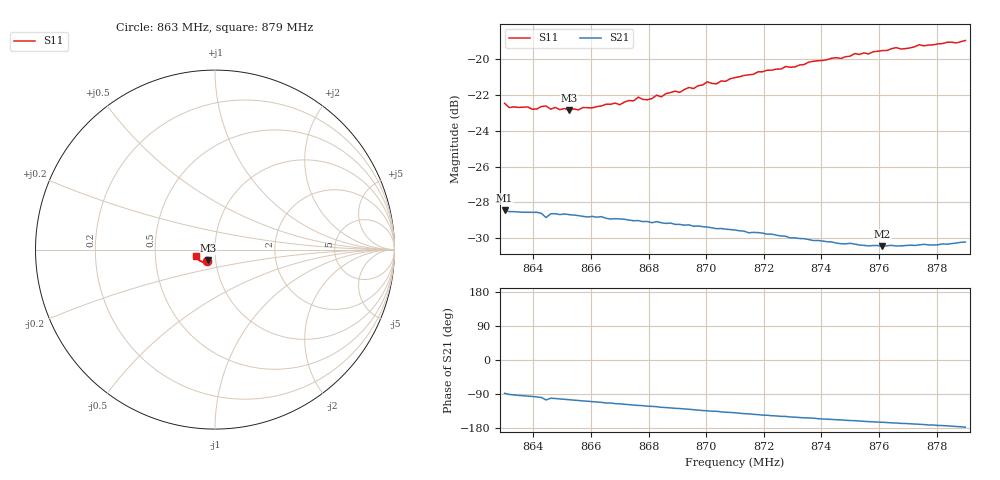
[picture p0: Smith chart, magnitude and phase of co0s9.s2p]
# HZ S RI R 50
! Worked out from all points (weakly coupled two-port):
!   101 points, 863 MHz to 879 MHz, reference 50 ohm
!   highest |S21| = -28.43 dB at 863 MHz (marker M1); lowest = -30.4 dB at 876.12 MHz (marker M2)
!   lowest |S11| = -22.9 dB at 865.24 MHz (marker M3), VSWR 1.16, Z = 45.9 - j5.54 ohm
!   |S11| at or under -10 dB: start of sweep to end of sweep
!   S12 and S22 are empty: the file has one direction only
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8.63e8  -0.0446 -0.0608  0.00143 -0.0379  0 0  0 0
8.6316e8  -0.0429 -0.0594  -0.00055 -0.0375  0 0  0 0
8.6396e8  -0.041 -0.0599  -0.00402 -0.0371  0 0  0 0
8.6428e8  -0.0407 -0.0616  -0.00571 -0.0367  0 0  0 0
8.6444e8  -0.0432 -0.0602  -0.00957 -0.0348  0 0  0 0
8.646e8  -0.0398 -0.0607  -0.00689 -0.0364  0 0  0 0
8.6524e8  -0.0396 -0.0601  -0.00936 -0.0356  0 0  0 0
8.6572e8  -0.0391 -0.062  -0.0112 -0.0346  0 0  0 0
8.67e8  -0.0405 -0.0628  -0.0155 -0.0323  0 0  0 0
8.6764e8  -0.0426 -0.0658  -0.0176 -0.0307  0 0  0 0
8.6796e8  -0.0408 -0.0654  -0.0186 -0.0299  0 0  0 0
8.6828e8  -0.0431 -0.0667  -0.0193 -0.0294  0 0  0 0
8.6844e8  -0.042 -0.0664  -0.02 -0.0287  0 0  0 0
8.694e8  -0.0467 -0.0692  -0.0222 -0.0264  0 0  0 0
8.6956e8  -0.0474 -0.068  -0.0225 -0.0257  0 0  0 0
8.7004e8  -0.0497 -0.0709  -0.0236 -0.0244  0 0  0 0
8.7036e8  -0.0495 -0.0697  -0.0239 -0.0236  0 0  0 0
8.71e8  -0.0536 -0.0711  -0.0252 -0.0218  0 0  0 0
8.7372e8  -0.0705 -0.0692  -0.0279 -0.0138  0 0  0 0
8.7612e8  -0.0883 -0.0584  -0.0289 -0.00813  0 0  0 0
8.7644e8  -0.0911 -0.0565  -0.0293 -0.00739  0 0  0 0
8.79e8  -0.107 -0.0364  -0.0308 -0.00147  0 0  0 0
